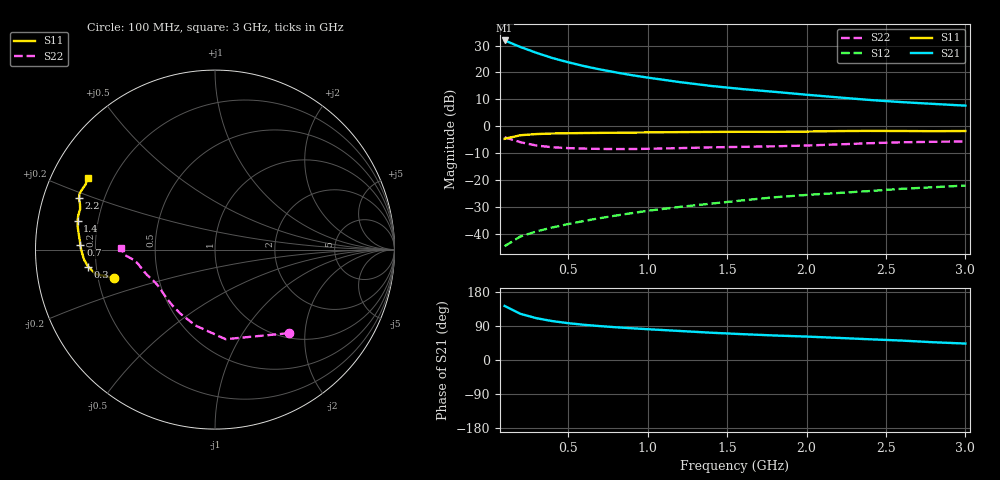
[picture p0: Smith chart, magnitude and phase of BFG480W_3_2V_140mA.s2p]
! Filename: 3_2140BFG480.001
! Title: BFG480W
! Bias: Vce=3.2V; Ic=140mA
! Company: Philips Semiconductors NL
! User: Quality&Reliability T&D
! Measure time: 10 Nov 1999 / 11:58:47
#  MHz  S  MA  R 50
! Freq  S11  S21  S12  S22  :
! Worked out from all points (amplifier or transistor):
!   20 points, 100 MHz to 3 GHz, reference 50 ohm
!   highest |S21| = 31.9 dB at 100 MHz (marker M1)
!   |S21| within 3 dB of that: start of sweep to 226.4 MHz
!   unconditionally stable (mu >= 1): 439.2 MHz to end of sweep
!   at 400 MHz: K = 0.98, MSG = 31.5 dB, |S12| = -37.7 dB
!   at 1.2 GHz: K = 1.14, MAG = 21.0 dB, |S12| = -30.0 dB
!   at 3 GHz: K = 1.10, MAG = 12.9 dB, |S12| = -22.1 dB
!   S11 on the Smith chart (normalised r, x): 100 MHz: 0.27, -0.13; 300 MHz: 0.17, -0.06; 700 MHz: 0.14, +0.02; 1.4 GHz: 0.12, +0.10; 2.2 GHz: 0.11, +0.18; 3 GHz: 0.11, +0.26
100  0.5831 -164.2  39.28 142.6  0.005868 66.9  0.6203 -48.6
200  0.6784 -168.4  29.69 121.8  0.008895 60.4  0.5027 -83.2
300  0.7138 -172.4  23.15 110.3  0.01102 61.1  0.4366 -104.5
400  0.7305 -175.4  18.54 102.7  0.01306 63.5  0.4058 -118.2
500  0.7388 -177.9  15.44 97.2  0.01512 66.1  0.391 -127.7
600  0.7458 -180.0  13.1 92.9  0.01725 68.2  0.3827 -134.5
700  0.7503 178.2  11.38 89.4  0.01949 70.2  0.3778 -139.6
800  0.7544 176.4  10 86.4  0.02174 71.7  0.3755 -143.8
900  0.7598 174.7  8.894 83.8  0.02413 73.4  0.3759 -147.4
1000  0.7652 173.2  8.013 81.3  0.02667 74.1  0.3791 -150.6
1200  0.7759 170.5  6.617 76.6  0.03148 75.4  0.3908 -155.7
1400  0.7823 168.3  5.598 72.0  0.03628 76.0  0.4039 -159.5
1600  0.7855 165.9  4.885 68.1  0.04179 76.5  0.4128 -162.5
1800  0.7842 163.4  4.346 64.7  0.04768 76.7  0.4227 -165.8
2000  0.7939 161.4  3.847 61.8  0.05264 77.2  0.4369 -169.7
2200  0.8105 159.3  3.428 58.3  0.05724 77.0  0.4579 -172.9
2400  0.8166 157.5  3.068 54.6  0.06225 76.3  0.4825 -175.0
2600  0.8131 155.7  2.802 51.3  0.06851 75.4  0.5017 -176.4
2800  0.8075 153.4  2.595 46.8  0.07329 73.9  0.512 -178.1
3000  0.8126 150.7  2.41 43.4  0.0788 73.0  0.5211 179.1
